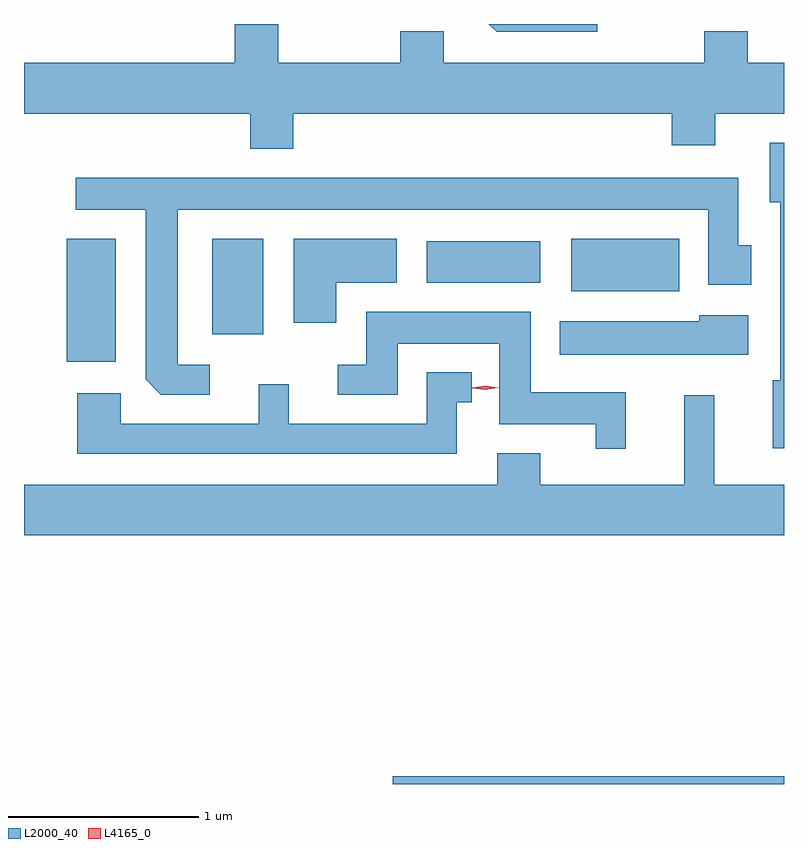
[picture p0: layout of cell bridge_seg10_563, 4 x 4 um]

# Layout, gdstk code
import gdstk
lib = gdstk.Library(unit=1e-6, precision=1e-09)
def R(c, l, rs):  # rectangles x0, y0, x1, y1
    for r in rs: c.add(gdstk.rectangle(r[:2], r[2:], *l))
def P(c, l, *ps):  # polygons
    for p in ps: c.add(gdstk.Polygon(p, *l))
L2000_40 = (2000, 40)
L4165_0 = (4165, 0)

bridge_seg10_563 = lib.new_cell('bridge_seg10_563')
R(bridge_seg10_563, L2000_40, [(647.661,2165.888,649.721,2165.929), (645.946,2168.111,646.204,2168.759), (646.711,2168.256,646.979,2168.759), (648.601,2168.481,649.169,2168.759), (647.841,2168.526,648.439,2168.744)])
P(bridge_seg10_563, L2000_40, [(647.139,2169.416),(649.131,2169.416),(649.131,2169.251),(649.359,2169.251),(649.359,2169.416),(649.721,2169.416),(649.721,2169.684),(649.529,2169.684),(649.529,2169.849),(649.301,2169.849),(649.301,2169.684),(647.929,2169.684),(647.929,2169.849),(647.701,2169.849),(647.701,2169.684),(647.059,2169.684),(647.059,2169.888),(646.831,2169.888),(646.831,2169.684),(645.721,2169.684),(645.721,2169.416),(646.911,2169.416),(646.911,2169.231),(647.139,2169.231)],
  [(648.738,2169.888),(648.167,2169.888),(648.209,2169.846),(648.738,2169.846)],
  [(649.721,2169.264),(649.646,2169.264),(649.646,2168.951),(649.701,2168.951),(649.701,2168.014),(649.661,2168.014),(649.661,2167.656),(649.721,2167.656)],
  [(646.698,2168.094),(646.529,2168.094),(646.529,2168.911),(649.321,2168.911),(649.321,2168.516),(649.549,2168.516),(649.549,2168.724),(649.479,2168.724),(649.479,2169.079),(645.993,2169.079),(645.993,2168.911),(646.361,2168.911),(646.361,2168.017),(646.442,2167.936),(646.698,2167.936)],
  [(647.364,2168.526),(647.684,2168.526),(647.684,2168.759),(647.141,2168.759),(647.141,2168.316),(647.364,2168.316)],
  [(648.889,2167.949),(648.389,2167.949),(648.389,2168.374),(647.521,2168.374),(647.521,2168.094),(647.373,2168.094),(647.373,2167.936),(647.689,2167.936),(647.689,2168.206),(648.221,2168.206),(648.221,2167.781),(648.731,2167.781),(648.731,2167.653),(648.889,2167.653)],
  [(649.534,2168.354),(649.276,2168.354),(649.276,2168.324),(648.541,2168.324),(648.541,2168.146),(649.534,2168.146)],
  [(647.999,2167.896),(648.078,2167.896),(648.078,2168.054),(647.841,2168.054),(647.841,2167.784),(647.114,2167.784),(647.114,2167.993),(646.956,2167.993),(646.956,2167.784),(646.229,2167.784),(646.229,2167.944),(646.001,2167.944),(646.001,2167.626),(647.999,2167.626)],
  [(649.721,2167.464),(649.354,2167.464),(649.354,2167.933),(649.196,2167.933),(649.196,2167.464),(648.439,2167.464),(648.439,2167.629),(648.211,2167.629),(648.211,2167.464),(645.721,2167.464),(645.721,2167.196),(649.721,2167.196)])
P(bridge_seg10_563, L4165_0, [(648.148,2167.963),(648.079,2167.972),(648.079,2167.973),(648.079,2167.974),(648.148,2167.983),(648.218,2167.974),(648.218,2167.974),(648.218,2167.973)])

lib.write_gds('bridge_seg10_563.gds')
